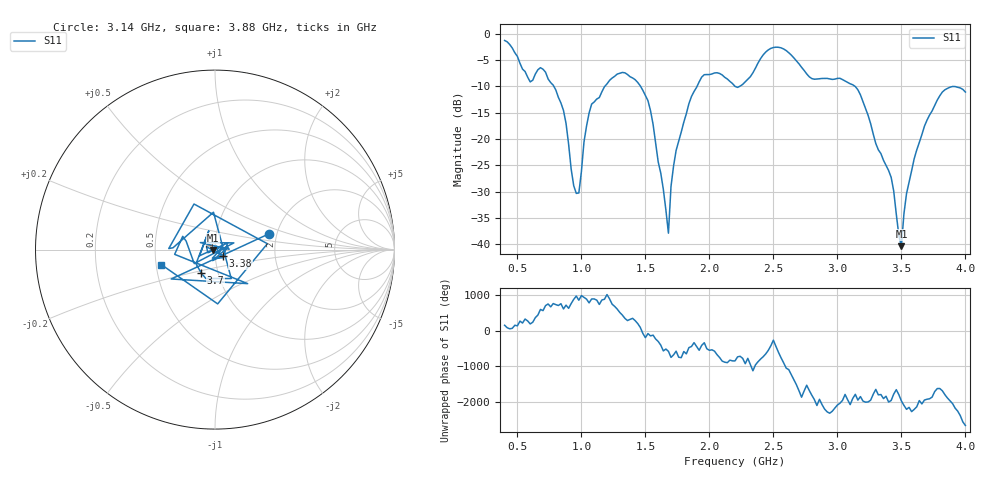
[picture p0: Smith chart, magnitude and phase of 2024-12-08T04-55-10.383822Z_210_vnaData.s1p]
!Created with skrf (http://scikit-rf.org).
# Hz S RI R 50.0
!freq ReS11 ImS11
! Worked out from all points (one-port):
!   181 points, 400 MHz to 4 GHz, reference 50 ohm
!   lowest |S11| = -40.4 dB at 3.5 GHz (marker M1), VSWR 1.02, Z = 49.1 - j0.19 ohm
!   |S11| at or under -10 dB: 785 MHz to 1.182 GHz (397.2 MHz wide, 40.4 % of centre); 1.463 GHz to 1.903 GHz (440.8 MHz wide, 26.2 % of centre); 3.138 GHz to end of sweep (the widest 3 of 4)
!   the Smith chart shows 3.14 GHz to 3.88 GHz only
!   S11 on the Smith chart (normalised r, x): 3.14 GHz: 1.82, +0.36; 3.38 GHz: 1.09, -0.08; 3.7 GHz: 0.83, -0.22; 3.88 GHz: 0.53, -0.10
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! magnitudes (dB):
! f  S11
! 400 MHz  -1.3
! 600 MHz  -9.1
! 720 MHz  -7.3
! 860 MHz  -14.6
! 940 MHz  -28.9
! 980 MHz  -30.3
! 1.02 GHz  -20.6
! 1.08 GHz  -13.4
! 1.3 GHz  -7.5
! 1.52 GHz  -12.7
! 1.68 GHz  -37.9
! 1.7 GHz  -29.0
! 1.76 GHz  -20.4
! 1.94 GHz  -8.2
! 2.2 GHz  -10.0
! 2.48 GHz  -2.8
! 2.66 GHz  -4.6
! 2.8 GHz  -8.5
! 3.1 GHz  -9.5
! 3.14 GHz  -10.0
! 3.38 GHz  -25.0
! 3.42 GHz  -27.3
! 3.5 GHz  -40.4
! 3.52 GHz  -34.2
! 3.56 GHz  -28.2
! 3.7 GHz  -16.4
! 3.88 GHz  -10.1
! 4 GHz  -11.1
